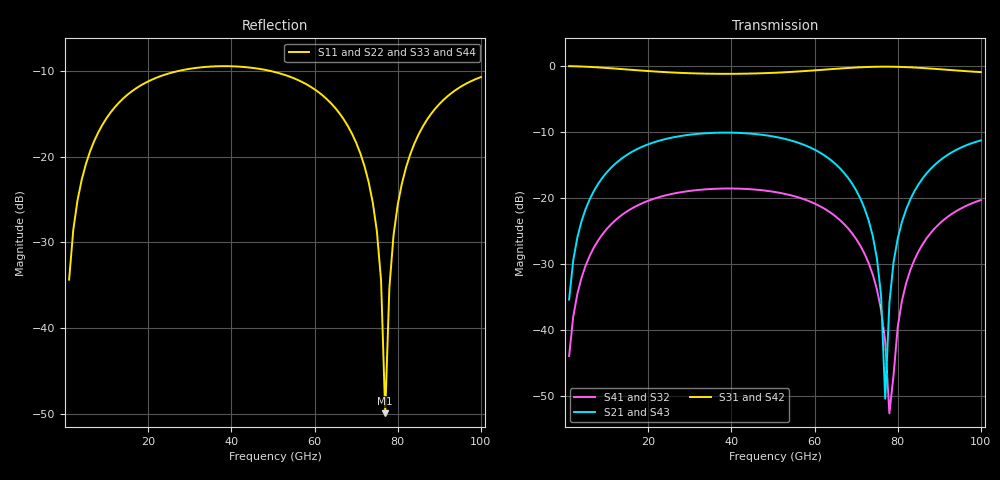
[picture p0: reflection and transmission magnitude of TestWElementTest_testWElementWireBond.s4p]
! File created by SignalIntegrity v1.1.13: Signal and Power Integrity Tools
! https://github.com/TeledyneLeCroy/SignalIntegrity
# MHz S MA R 50.0
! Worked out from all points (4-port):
!   100 points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, 1 GHz to 100 GHz, reference 50 ohm
!   strongest paths, dB at 1 GHz, 26 GHz, 51 GHz, 76 GHz, 100 GHz:
!     S31: 0.0, -1.0, -1.0, -0.1, -0.9
!     S42: 0.0, -1.0, -1.0, -0.1, -0.9
!     S21: -35.4, -10.8, -10.8, -34.8, -11.3
!     S43: -35.4, -10.8, -10.8, -34.8, -11.3
!     S41: -43.9, -19.3, -19.1, -36.9, -20.3
!     S32: -43.9, -19.3, -19.1, -36.9, -20.3
!   lowest |S11| = -50.0 dB at 77 GHz (marker M1), VSWR 1.01, Z = 50.3 - j0.0894 ohm
!   |S11| at or under -10 dB: start of sweep to 27.28 GHz; 49.39 GHz to end of sweep
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1000  0.01915 81.8  0.017 86.8  0.9979 -2.8  0.006353 -95.6
      0.017 86.8  0.01915 81.8  0.006353 -95.6  0.9979 -2.8
      0.9979 -2.8  0.006353 -95.6  0.01915 81.7  0.017 86.8
      0.006353 -95.6  0.9979 -2.8  0.017 86.8  0.01915 81.7
14000  0.2185 48.9  0.203 49.5  0.9465 -36.5  0.07565 -164.1
       0.203 49.5  0.2185 48.9  0.07565 -164.1  0.9465 -36.5
       0.9465 -36.5  0.07565 -164.1  0.2186 48.8  0.203 49.5
       0.07565 -164.1  0.9465 -36.5  0.203 49.5  0.2186 48.8
55000  0.287 -31.2  0.269 -30.5  0.9052 -125.5  0.1035 17.0
       0.269 -30.5  0.2871 -31.2  0.1035 17.0  0.9052 -125.5
       0.9052 -125.5  0.1035 17.0  0.2868 -31.9  0.2693 -30.4
       0.1035 17.0  0.9052 -125.5  0.2693 -30.4  0.2868 -31.9
72000  0.08826 -72.8  0.08386 -72.7  0.9816 -166.8  0.03798 -68.5
       0.08386 -72.7  0.08829 -72.8  0.03798 -68.5  0.9816 -166.8
       0.9816 -166.8  0.03798 -68.5  0.08824 -73.6  0.08389 -72.7
       0.03798 -68.5  0.9816 -166.8  0.08389 -72.7  0.08826 -73.6
77000  0.003179 -16.2  0.003014 -23.4  0.9892 179.7  0.008154 -103.5
       0.003014 -23.4  0.003186 -16.6  0.008154 -103.5  0.9892 179.7
       0.9892 179.7  0.008154 -103.5  0.003236 -17.3  0.002954 -23.5
       0.008154 -103.5  0.9892 179.7  0.002954 -23.5  0.003243 -17.7
82000  0.08645 73.3  0.08151 73.1  0.9814 166.3  0.02243 62.9
       0.08151 73.1  0.08643 73.3  0.02243 62.9  0.9814 166.3
       0.9814 166.3  0.02243 62.9  0.08647 72.2  0.08149 73.1
       0.02243 62.9  0.9814 166.3  0.08149 73.1  0.08645 72.2
100000  0.2914 29.6  0.2733 28.9  0.8996 122.7  0.0965 -28.5
        0.2733 28.9  0.2914 29.7  0.0965 -28.5  0.8996 122.7
        0.8996 122.7  0.0965 -28.5  0.2918 28.3  0.2729 29.1
        0.0965 -28.5  0.8996 122.7  0.2729 29.1  0.2918 28.3
